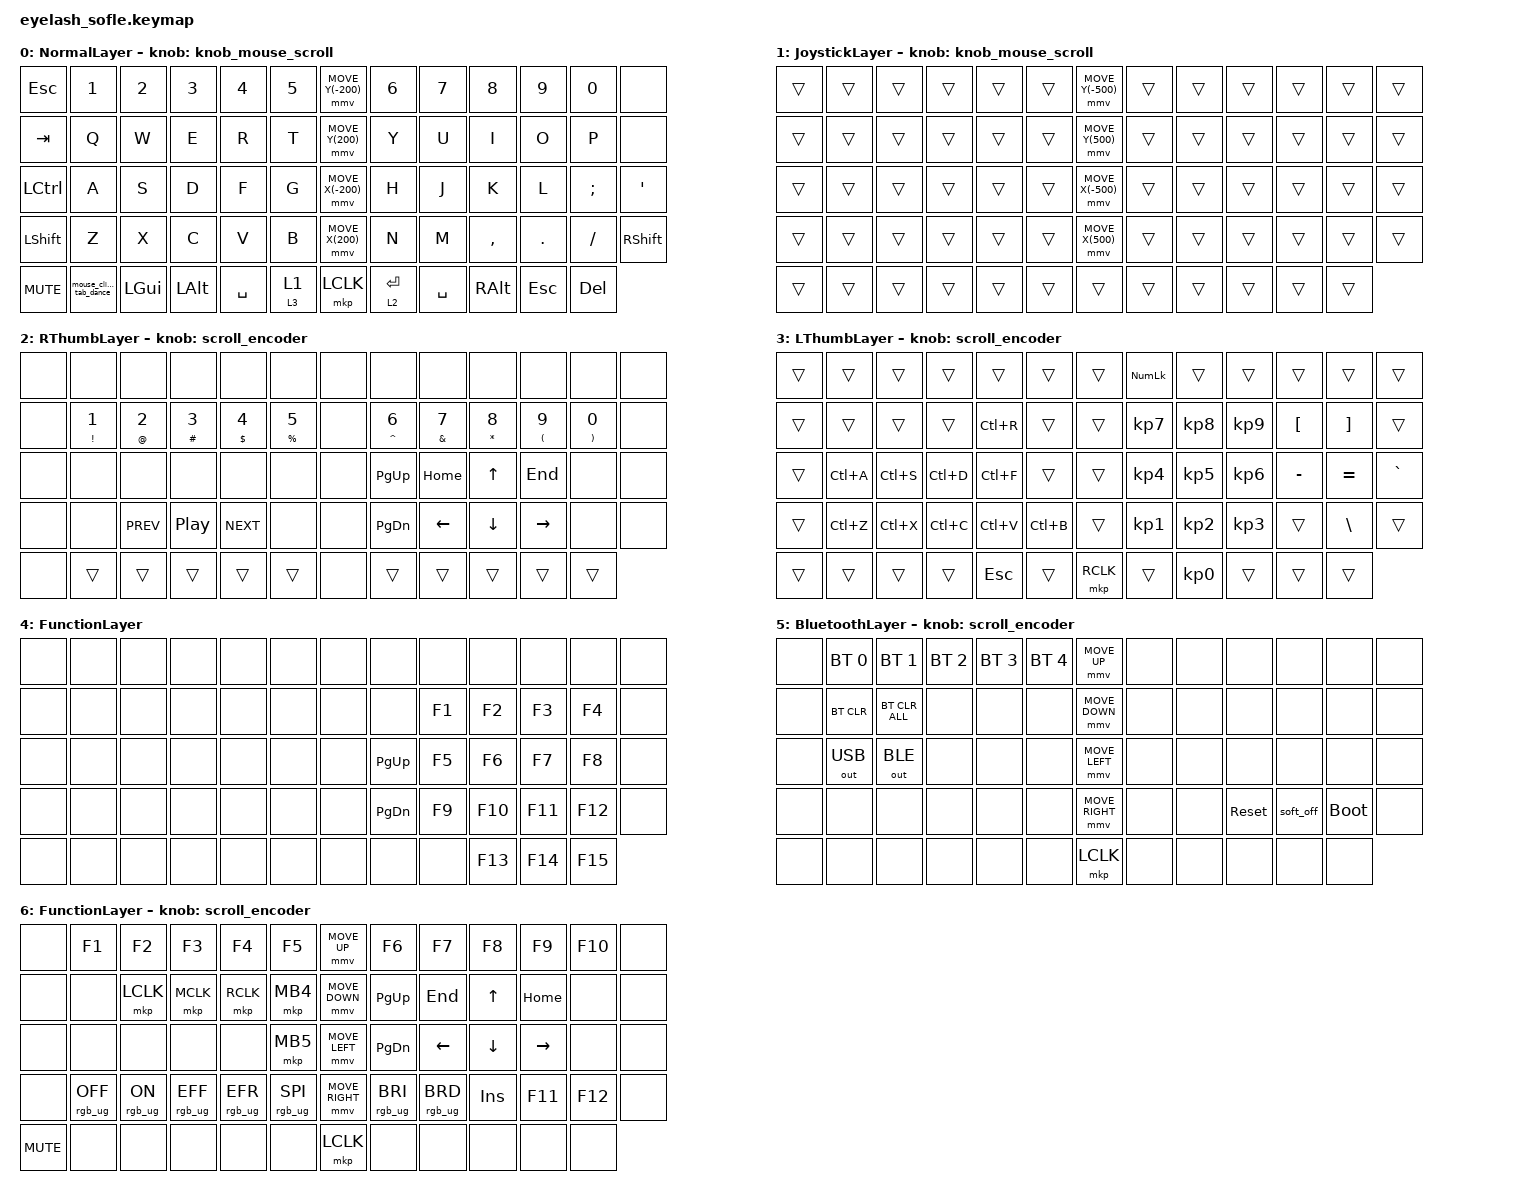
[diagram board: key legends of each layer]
#define ZMK_POINTING_DEFAULT_MOVE_VAL 1200  // 600
#define ZMK_POINTING_DEFAULT_SCRL_VAL 25   // 10

#include <input/processors.dtsi>
#include <zephyr/dt-bindings/input/input-event-codes.h>
#include <behaviors.dtsi>
#include <dt-bindings/zmk/bt.h>
#include <dt-bindings/zmk/keys.h>
#include <dt-bindings/zmk/outputs.h>
#include <dt-bindings/zmk/pointing.h>
#include <dt-bindings/zmk/rgb.h>

&mmv_input_listener { input-processors = <&zip_xy_scaler 2 1>; };

&msc_input_listener { input-processors = <&zip_scroll_scaler 2 1>; };

&msc {
    time-to-max-speed-ms = <0>;       // 300
    delay-ms = <0>;                   // 0
    trigger-period-ms = <0>;
};

&mmv {
    time-to-max-speed-ms = <0>; // Default 500
    acceleration-exponent = <0>; // Default 0
    trigger-period-ms = <16>;
};

&soft_off { hold-time-ms = <2000>; };

/ {
    scroll_encoder: scroll_encoder {
        compatible = "zmk,behavior-sensor-rotate";
        #sensor-binding-cells = <0>;
        bindings = <&msc SCRL_DOWN>, <&msc SCRL_UP>;

        tap-ms = <100>;
    };

    homerow_mods: homerow_mods {
        compatible = "zmk,behavior-hold-tap";
        label = "HOMEROW_MODS";
        bindings = <&kp>, <&kp>;

        #binding-cells = <2>;
        tapping-term-ms = <200>;
        flavor = "tap-preferred";
        quick-tap-ms = <200>;
    };

    layer_quick_tab: layer_quick_tab {
        compatible = "zmk,behavior-hold-tap";
        label = "LAYER_QUICK_TAB";
        bindings = <&mo>, <&kp>;

        #binding-cells = <2>;
        tapping-term-ms = <300>;
        flavor = "hold-preferred";
        quick-tap-ms = <130>;
        require-prior-idle-ms = <125>;
    };

    mouse_click_key: mouse_click_key {
        compatible = "zmk,behavior-hold-tap";
        label = "MOUSE_CLICK_KEY";
        bindings = <&mkp>, <&mkp>;

        #binding-cells = <2>;
        tapping-term-ms = <150>;
    };

    knob_mouse_scroll: knob_mouse_scroll {
        compatible = "zmk,behavior-sensor-rotate";
        label = "KNOB_MOUSE_SCROLL";
        #sensor-binding-cells = <0>;
        bindings = <&msc SCRL_DOWN>, <&msc SCRL_UP>;
    };

    mouse_click_tab_dance: mouse_click_tab_dance {
        compatible = "zmk,behavior-tap-dance";
        label = "MOUSE_CLICK_TAB_DANCE";
        #binding-cells = <0>;
        bindings = <&mkp LCLK>, <&mouse_click_key RCLK LCLK>;
    };

    layer_hold_tap: layer_hold_tap {
        compatible = "zmk,behavior-hold-tap";
        label = "LAYER_HOLD_TAP";
        bindings = <&mo>, <&tog>;

        #binding-cells = <2>;
        tapping-term-ms = <200>;
    };

    behaviors {
    };

    combos {
        compatible = "zmk,combos";

        softoff_combo {
            bindings = <&soft_off>;
            key-positions = <14 28 40>;
        };

        momentary_bluetooth_layer_combo {
            bindings = <&mo 6>;
            key-positions = <59 60>;
        };

        backspace_combo {
            bindings = <&kp BACKSPACE>;
            key-positions = <34 35>;
        };

        momentary_function_layer_combo {
            bindings = <&mo 4>;
            key-positions = <57 56>;
        };

        enter_combo {
            bindings = <&kp ENTER>;
            key-positions = <36 37>;
        };

        backspace2_combo {
            bindings = <&kp BACKSPACE>;
            key-positions = <30 29>;
        };

        enter2_combo {
            bindings = <&kp ENTER>;
            key-positions = <27 28>;
        };
    };

    macros {
        mouse_double_click: mouse_double_click {
            compatible = "zmk,behavior-macro";
            #binding-cells = <0>;
            bindings = <&mkp LCLK>, <&macro_wait_time 25>, <&mkp LCLK>;

            label = "MOUSE_DOUBLE_CLICK";
        };
    };

    keymap {
        compatible = "zmk,keymap";

        NormalLayer {
            bindings = <
&kp ESC     &kp N1                  &kp N2        &kp N3        &kp N4     &kp N5                 &mmv MOVE_Y(-200)  &kp N6                    &kp N7     &kp N8     &kp N9   &kp N0      &none
&kp TAB     &kp Q                   &kp W         &kp E         &kp R      &kp T                  &mmv MOVE_Y(200)   &kp Y                     &kp U      &kp I      &kp O    &kp P       &none
&kp LCTRL   &kp A                   &kp S         &kp D         &kp F      &kp G                  &mmv MOVE_X(-200)  &kp H                     &kp J      &kp K      &kp L    &kp SEMI    &kp APOS
&kp LSHFT   &kp Z                   &kp X         &kp C         &kp V      &kp B                  &mmv MOVE_X(200)   &kp N                     &kp M      &kp COMMA  &kp DOT  &kp SLASH   &kp RSHFT
&kp C_MUTE  &mouse_click_tab_dance  &kp LEFT_GUI  &kp LEFT_ALT  &kp SPACE  &layer_hold_tap 3 1    &mkp LCLK          &layer_quick_tab 2 ENTER  &kp SPACE  &kp RALT   &kp ESC  &kp DELETE
            >;

            sensor-bindings = <&knob_mouse_scroll>;
            display-name = "NormalLayer";
        };

        JoystickLayer {
            bindings = <
&trans  &trans  &trans  &trans  &trans  &trans    &mmv MOVE_Y(-500)  &trans  &trans  &trans  &trans  &trans  &trans
&trans  &trans  &trans  &trans  &trans  &trans    &mmv MOVE_Y(500)   &trans  &trans  &trans  &trans  &trans  &trans
&trans  &trans  &trans  &trans  &trans  &trans    &mmv MOVE_X(-500)  &trans  &trans  &trans  &trans  &trans  &trans
&trans  &trans  &trans  &trans  &trans  &trans    &mmv MOVE_X(500)   &trans  &trans  &trans  &trans  &trans  &trans
&trans  &trans  &trans  &trans  &trans  &trans    &trans             &trans  &trans  &trans  &trans  &trans
            >;

            sensor-bindings = <&knob_mouse_scroll>;
            label = "JoystickLayer";
        };

        RThumbLayer {
            bindings = <
&none  &none                  &none                &none                  &none                  &none                     &none  &none                   &none                  &none                   &none                  &none                  &none
&none  &homerow_mods EXCL N1  &homerow_mods AT N2  &homerow_mods HASH N3  &homerow_mods DLLR N4  &homerow_mods PRCNT N5    &none  &homerow_mods CARET N6  &homerow_mods AMPS N7  &homerow_mods ASTRK N8  &homerow_mods LPAR N9  &homerow_mods RPAR N0  &none
&none  &none                  &none                &none                  &none                  &none                     &none  &kp PG_UP               &kp HOME               &kp UP                  &kp END                &none                  &none
&none  &none                  &kp C_PREV           &kp C_PLAY_PAUSE       &kp C_NEXT             &none                     &none  &kp PG_DN               &kp LEFT               &kp DOWN                &kp RIGHT              &none                  &none
&none  &trans                 &trans               &trans                 &trans                 &trans                    &none  &trans                  &trans                 &trans                  &trans                 &trans
            >;

            display-name = "RThumbLayer";
            sensor-bindings = <&scroll_encoder>;
        };

        LThumbLayer {
            bindings = <
&trans  &trans     &trans     &trans     &trans     &trans       &trans     &kp KP_NUMLOCK   &trans           &trans           &trans            &trans             &trans
&trans  &trans     &trans     &trans     &kp LC(R)  &trans       &trans     &kp KP_NUMBER_7  &kp KP_NUMBER_8  &kp KP_NUMBER_9  &kp LEFT_BRACKET  &kp RIGHT_BRACKET  &trans
&trans  &kp LC(A)  &kp LC(S)  &kp LC(D)  &kp LC(F)  &trans       &trans     &kp KP_NUMBER_4  &kp KP_NUMBER_5  &kp KP_NUMBER_6  &kp MINUS         &kp EQUAL          &kp GRAVE
&trans  &kp LC(Z)  &kp LC(X)  &kp LC(C)  &kp LC(V)  &kp LC(B)    &trans     &kp KP_NUMBER_1  &kp KP_NUMBER_2  &kp KP_NUMBER_3  &trans            &kp BSLH           &trans
&trans  &trans     &trans     &trans     &kp ESC    &trans       &mkp RCLK  &trans           &kp KP_NUMBER_0  &trans           &trans            &trans
            >;

            display-name = "LThumbLayer";
            sensor-bindings = <&scroll_encoder>;
        };

        FunctionLayer {
            bindings = <
&none  &none  &none  &none  &none  &none    &none  &none          &none   &none    &none    &none    &none
&none  &none  &none  &none  &none  &none    &none  &none          &kp F1  &kp F2   &kp F3   &kp F4   &none
&none  &none  &none  &none  &none  &none    &none  &kp PAGE_UP    &kp F5  &kp F6   &kp F7   &kp F8   &none
&none  &none  &none  &none  &none  &none    &none  &kp PAGE_DOWN  &kp F9  &kp F10  &kp F11  &kp F12  &none
&none  &none  &none  &none  &none  &none    &none  &none          &none   &kp F13  &kp F14  &kp F15
            >;

            label = "FunctionLayer";
        };

        BluetoothLayer {
            bindings = <
&none  &bt BT_SEL 0  &bt BT_SEL 1    &bt BT_SEL 2  &bt BT_SEL 3  &bt BT_SEL 4    &mmv MOVE_UP     &none  &none  &none       &none      &none        &none
&none  &bt BT_CLR    &bt BT_CLR_ALL  &none         &none         &none           &mmv MOVE_DOWN   &none  &none  &none       &none      &none        &none
&none  &out OUT_USB  &out OUT_BLE    &none         &none         &none           &mmv MOVE_LEFT   &none  &none  &none       &none      &none        &none
&none  &none         &none           &none         &none         &none           &mmv MOVE_RIGHT  &none  &none  &sys_reset  &soft_off  &bootloader  &none
&none  &none         &none           &none         &none         &none           &mkp LCLK        &none  &none  &none       &none      &none
            >;

            display-name = "BluetoothLayer";
            sensor-bindings = <&scroll_encoder>;
        };

        FunctionLayer_backup {
            bindings = <
&none       &kp F1           &kp F2          &kp F3           &kp F4           &kp F5             &mmv MOVE_UP     &kp F6           &kp F7           &kp F8      &kp F9     &kp F10  &none
&none       &none            &mkp LCLK       &mkp MCLK        &mkp RCLK        &mkp MB4           &mmv MOVE_DOWN   &kp PG_UP        &kp END          &kp UP      &kp HOME   &none    &none
&none       &none            &none           &none            &none            &mkp MB5           &mmv MOVE_LEFT   &kp PG_DN        &kp LEFT         &kp DOWN    &kp RIGHT  &none    &none
&none       &rgb_ug RGB_OFF  &rgb_ug RGB_ON  &rgb_ug RGB_EFF  &rgb_ug RGB_EFR  &rgb_ug RGB_SPI    &mmv MOVE_RIGHT  &rgb_ug RGB_BRI  &rgb_ug RGB_BRD  &kp INSERT  &kp F11    &kp F12  &none
&kp C_MUTE  &none            &none           &none            &none            &none              &mkp LCLK        &none            &none            &none       &none      &none
            >;

            display-name = "FunctionLayer";
            sensor-bindings = <&scroll_encoder>;
        };
    };
};
